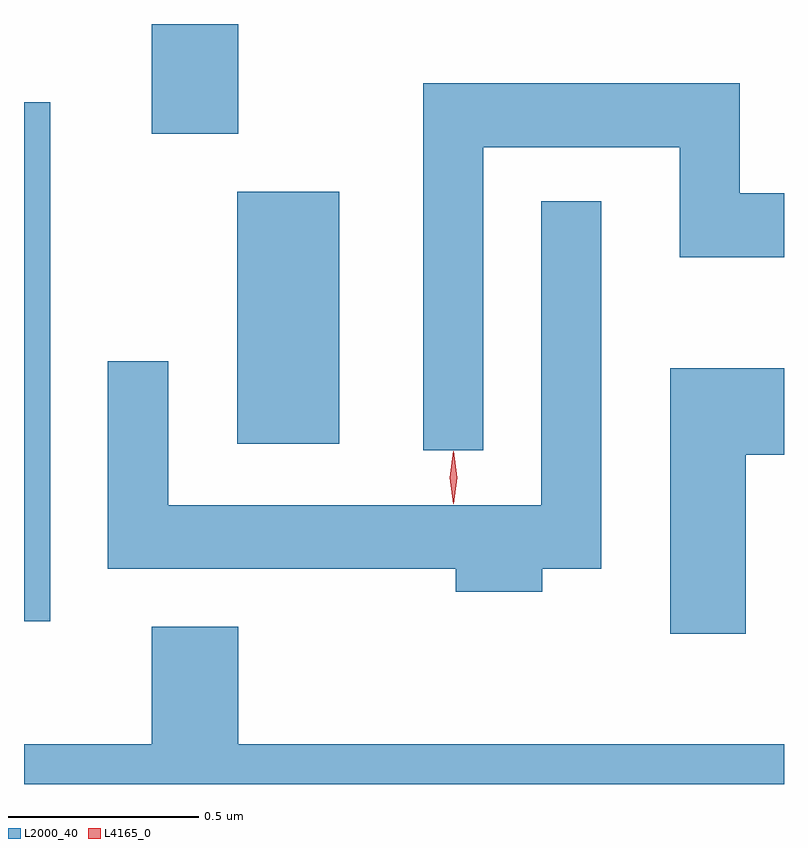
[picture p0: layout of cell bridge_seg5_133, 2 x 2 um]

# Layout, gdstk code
import gdstk
lib = gdstk.Library(unit=1e-6, precision=1e-09)
def R(c, l, rs):  # rectangles x0, y0, x1, y1
    for r in rs: c.add(gdstk.rectangle(r[:2], r[2:], *l))
def P(c, l, *ps):  # polygons
    for p in ps: c.add(gdstk.Polygon(p, *l))
L2000_40 = (2000, 40)
L4165_0 = (4165, 0)

bridge_seg5_133 = lib.new_cell('bridge_seg5_133')
R(bridge_seg5_133, L2000_40, [(1163.015,1415.208,1163.084,1416.574), (1163.576,1415.676,1163.844,1416.339), (1163.351,1416.491,1163.579,1416.78)])
P(bridge_seg5_133, L2000_40, [(1164.224,1416.456),(1164.741,1416.456),(1164.741,1416.166),(1165.015,1416.166),(1165.015,1416.334),(1164.899,1416.334),(1164.899,1416.624),(1164.066,1416.624),(1164.066,1415.658),(1164.224,1415.658)],
  [(1164.379,1415.346),(1164.534,1415.346),(1164.534,1416.313),(1164.376,1416.313),(1164.376,1415.514),(1163.394,1415.514),(1163.394,1415.893),(1163.236,1415.893),(1163.236,1415.346),(1164.151,1415.346),(1164.151,1415.286),(1164.379,1415.286)],
  [(1164.914,1415.646),(1165.015,1415.646),(1165.015,1415.874),(1164.716,1415.874),(1164.716,1415.176),(1164.914,1415.176)],
  [(1165.015,1414.884),(1163.579,1414.884),(1163.579,1415.194),(1163.351,1415.194),(1163.351,1414.884),(1163.015,1414.884),(1163.015,1414.78),(1165.015,1414.78)])
P(bridge_seg5_133, L4165_0, [(1164.144,1415.517),(1164.135,1415.586),(1164.144,1415.656),(1164.145,1415.656),(1164.146,1415.656),(1164.155,1415.586),(1164.146,1415.517),(1164.145,1415.517)])

lib.write_gds('bridge_seg5_133.gds')
